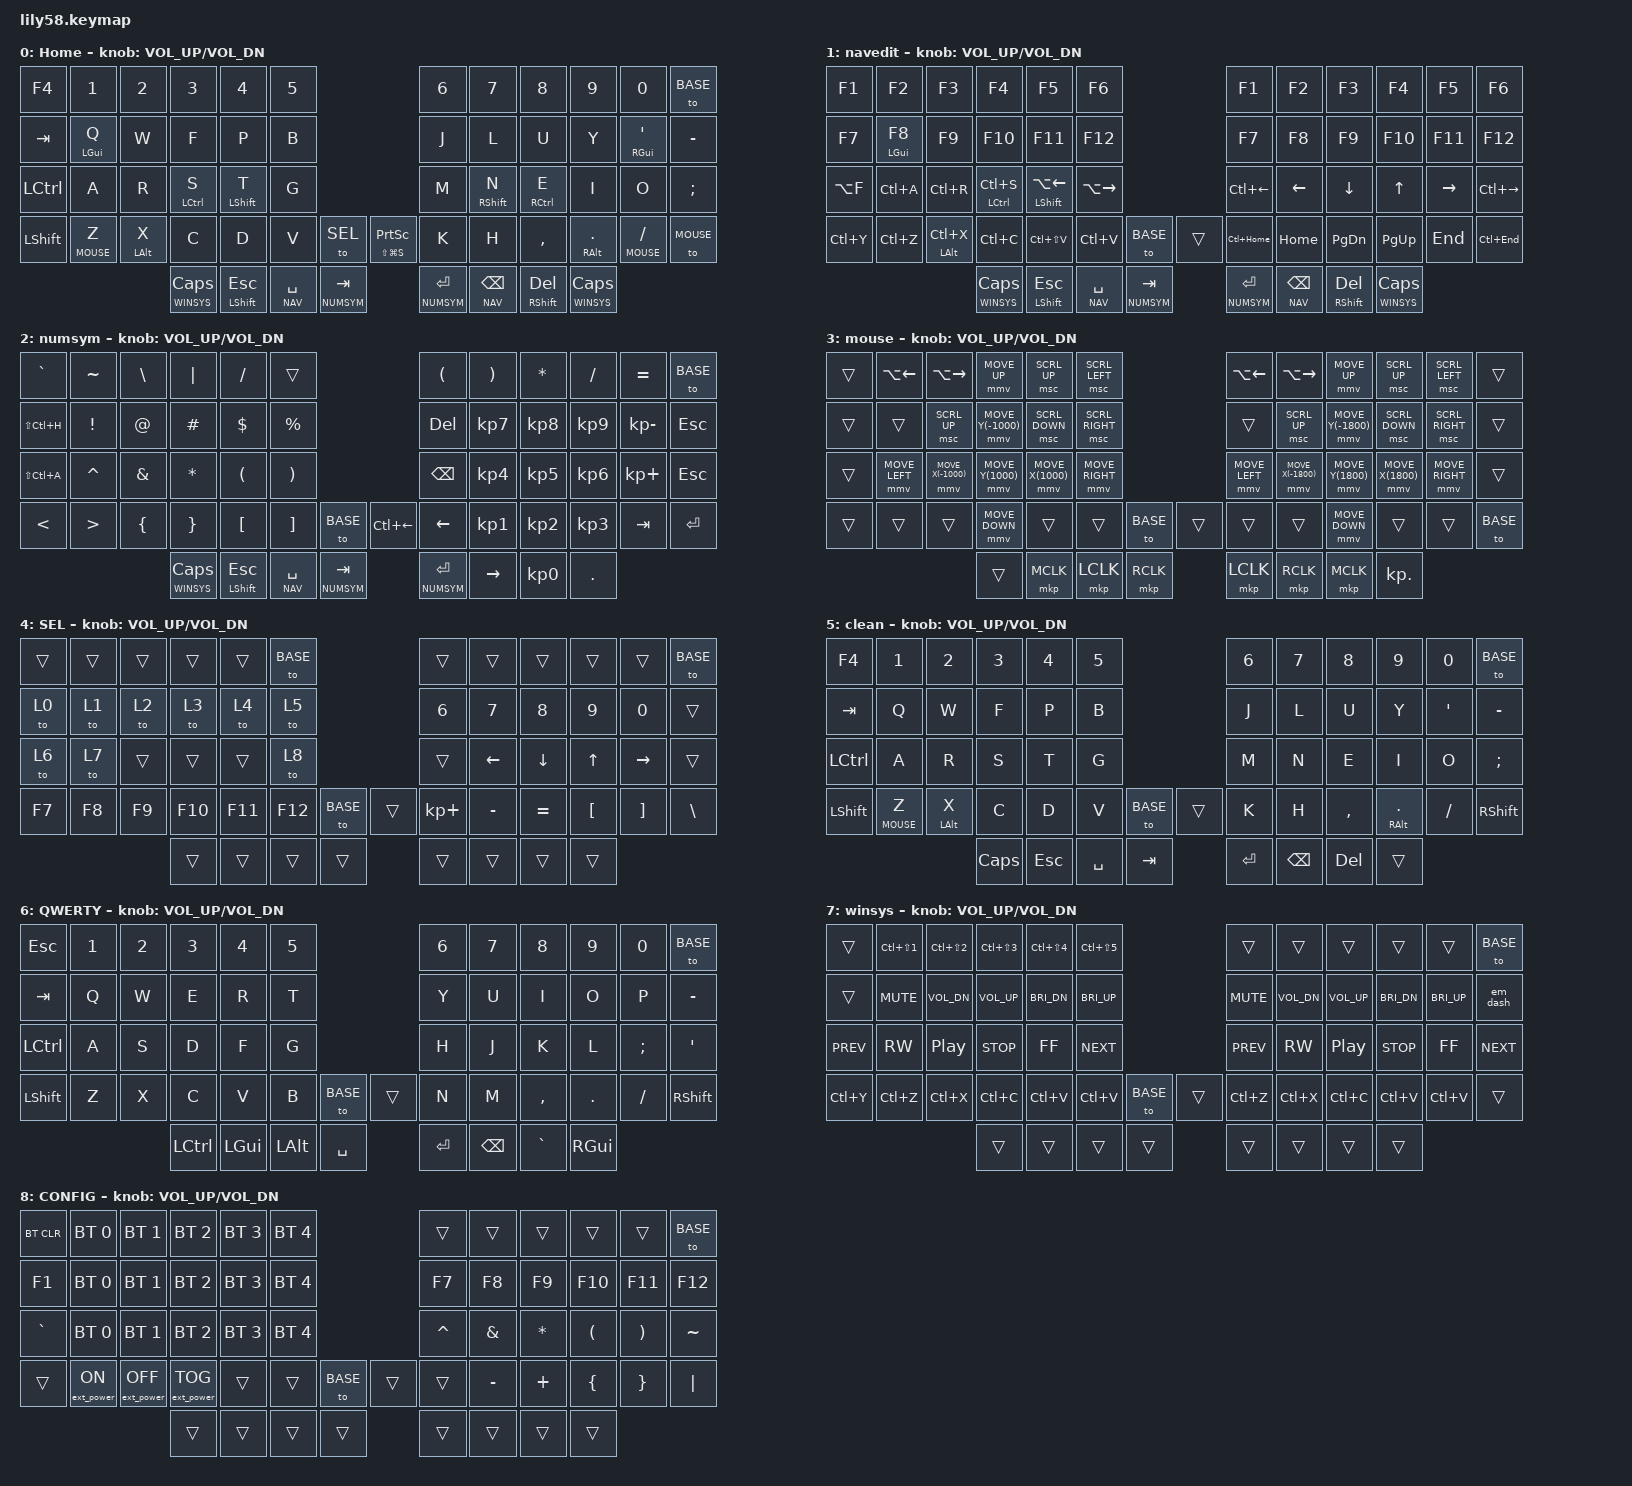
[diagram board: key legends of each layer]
/*
 * Copyright (c) 2020 The ZMK Contributors
 *
 * SPDX-License-Identifier: MIT
 */



#define BASE    0
#define NAV     1
#define NUMSYM  2
#define MOUSE   3
#define SEL     4
#define CLEAN   5
#define QWERTY  6
#define WINSYS  7
#define CONFIG  8

#include <behaviors.dtsi>
#include <dt-bindings/zmk/keys.h>
#include <dt-bindings/zmk/bt.h>
#include <dt-bindings/zmk/ext_power.h>
#include <dt-bindings/zmk/pointing.h>


&mt {
    tapping-term-ms = <150>;
};

/ {
    macros {
        em_dash: em_dash {
            compatible = "zmk,behavior-macro";
            #binding-cells = <0>;
            wait-ms = <40>;
            tap-ms = <40>;
            bindings
                =   <&macro_press &kp LALT>
                    , <&macro_tap  &kp N2 &kp N0 &kp N1 &kp N4>
                    , <&macro_release &kp LALT>
                    ;
        };
        sen_sym: sen_sym {
            compatible = "zmk,behavior-macro";
            #binding-cells = <0>;
            wait-ms = <40>;
            tap-ms = <40>;
            bindings
                =   <&macro_press &kp LALT>
                    , <&macro_tap  &kp N0 &kp N1 &kp N6 &kp N7>
                    , <&macro_release &kp LALT>
                    ;
        };
        par_sym: par_sym {
            compatible = "zmk,behavior-macro";
            #binding-cells = <0>;
            wait-ms = <40>;
            tap-ms = <40>;
            bindings
                =   <&macro_press &kp LALT>
                    , <&macro_tap  &kp N0 &kp N1 &kp N8 &kp N2>
                    , <&macro_release &kp LALT>
                    ;
        };



    };
    behaviors {
        hm: homerow_mods {
            compatible = "zmk,behavior-hold-tap";
            #binding-cells = <2>;
            tapping-term-ms = <150>;
            quick-tap-ms = <0>;
            flavor = "tap-preferred";
            bindings = <&kp>, <&kp>;
        };
    };

keymap {
        compatible = "zmk,keymap";

        home_layer {
            display-name = "Home";
            bindings = <
&kp F4     &kp N1      &kp N2     &kp N3        &kp N4        &kp N5                                     &kp N6     &kp N7       &kp N8       &kp N9        &kp N0         &to BASE
&kp TAB    &hm LGUI Q  &kp W      &kp F         &kp P         &kp B                                      &kp J      &kp L        &kp U        &kp Y         &hm RGUI SQT   &kp MINUS
&kp LCTRL  &kp A       &kp R      &hm LCTRL S   &hm LSHIFT T  &kp G                                      &kp M      &hm RSHIFT N &hm RCTRL E  &kp I         &kp O          &kp SEMI
&kp LSHFT  &lt MOUSE Z &hm LALT X  &kp C         &kp D        &kp V      &to SEL   &mt LS(LG(S)) PSCRN     &kp K      &kp H        &kp COMMA    &hm RALT DOT  &lt MOUSE FSLH &to MOUSE
                    &lt WINSYS CLCK    &mt LSHIFT ESC   &lt NAV SPACE  &lt NUMSYM TAB     &lt NUMSYM RET   &lt NAV BSPC   &mt RSHIFT DEL      &lt WINSYS CLCK 
            >;

            sensor-bindings = <&inc_dec_kp C_VOL_UP C_VOL_DN>;
        };

        nav_layer {
            display-name = "navedit";
            bindings = <
&kp F1    &kp F2 &kp F3 &kp F4  &kp F5  &kp F6                                              &kp F1    &kp F2 &kp F3 &kp F4  &kp F5  &kp F6
&kp F7    &mt LGUI F8 &kp F9 &kp F10 &kp F11 &kp F12                                             &kp F7    &kp F8 &kp F9 &kp F10 &kp F11 &kp F12
&kp LA(F)    &kp LC(A)  &kp LC(R)  &mt LCTRL LC(S)   &mt LSHFT LA(LEFT) &kp LA(RIGHT)                 &kp LC(LEFT)    &kp LEFT  &kp DOWN  &kp UP   &kp RIGHT &kp LC(RIGHT)
&kp LC(Y)    &kp LC(Z) &mt LALT LC(X) &kp LC(C) &kp LC(LS(V)) &kp LC(V)     &to BASE   &trans     &kp LC(HOME) &kp HOME &kp PG_DN &kp PG_UP &kp END  &kp LC(END)
                        &lt WINSYS CLCK    &mt LSHIFT ESC   &lt NAV SPACE  &lt NUMSYM TAB     &lt NUMSYM RET   &lt NAV BSPC   &mt RSHIFT DEL      &lt WINSYS CLCK
            >;

            sensor-bindings = <&inc_dec_kp C_VOL_UP C_VOL_DN>;
        };

        numsym_layer {
            display-name = "numsym";
            bindings = <
&kp GRAVE &kp TILDE &kp BSLH &kp PIPE  &kp FSLH  &trans                       &kp LPAR      &kp RPAR    &kp STAR    &kp FSLH   &kp EQUAL    &to BASE
&kp LS(LC(H)) &kp EXCL &kp AT &kp POUND  &kp DLLR  &kp PRCNT                      &kp DEL      &kp KP_N7    &kp KP_N8    &kp KP_N9   &kp KP_MINUS    &kp ESC
&kp LS(LC(A))  &kp CARET &kp AMPS &kp STAR  &kp LPAR  &kp RPAR                     &kp BSPC      &kp KP_N4  &kp KP_N5  &kp KP_N6   &kp KP_PLUS &kp ESC
&kp LT    &kp GT &kp LBRC &kp RBRC &kp LBKT &kp RBKT           &to BASE   &kp LC(LEFT)     &kp LEFT &kp KP_N1 &kp KP_N2 &kp KP_N3 &kp TAB  &kp RET
                        &lt WINSYS CLCK    &mt LSHIFT ESC   &lt NAV SPACE  &lt NUMSYM TAB     &lt NUMSYM RET &kp RIGHT   &kp KP_N0      &kp DOT
            >;

            sensor-bindings = <&inc_dec_kp C_VOL_UP C_VOL_DN>;
        };

        mouse_layer {
            display-name = "mouse";
// ------------------------------------------------------------------------------------------------------------
// |       |     |     |      |      |      |                   |      |       |       |      |       |       |
// |   `   |  1  |  2  |  3   |  4   |  5   |                   |  6   |   7   |   8   |  9   |   0   |       |
// |   F1  |  F2 |  F3 |  F4  |  F5  |  F6  |                   |      |   <-  |   v   |  ^   |  ->   |       |
// |   F7  |  F8 |  F9 |  F10 |  F11 |  F12 |        |  |       |  +   |   -   |   =   |  [   |   ]   |   \   |
//                     |      |      |      |        |  |       |      |       |       |
            bindings = <
&trans    &kp LA(LEFT)  &kp LA(RIGHT) &mmv MOVE_UP  &msc SCRL_UP  &msc SCRL_LEFT                                         &kp LA(LEFT)  &kp LA(RIGHT) &mmv MOVE_UP  &msc SCRL_UP  &msc SCRL_LEFT  &trans
&trans    &trans &msc SCRL_UP &mmv MOVE_Y(-1000)  &msc SCRL_DOWN  &msc SCRL_RIGHT                                        &trans &msc SCRL_UP &mmv MOVE_Y(-1800)  &msc SCRL_DOWN  &msc SCRL_RIGHT  &trans
&trans    &mmv MOVE_LEFT  &mmv MOVE_X(-1000) &mmv MOVE_Y(1000)  &mmv MOVE_X(1000)  &mmv MOVE_RIGHT                       &mmv MOVE_LEFT  &mmv MOVE_X(-1800) &mmv MOVE_Y(1800)  &mmv MOVE_X(1800)  &mmv MOVE_RIGHT  &trans
&trans    &trans &trans &mmv MOVE_DOWN  &trans  &trans                                           &to BASE   &trans       &trans    &trans &mmv MOVE_DOWN  &trans &trans &to BASE
                        &trans  &mkp MCLK    &mkp LCLK      &mkp RCLK   &mkp LCLK    &mkp RCLK      &mkp MCLK    &kp KP_DOT
            >;

            sensor-bindings = <&inc_dec_kp C_VOL_UP C_VOL_DN>;
        };

        selection_layer {
            display-name = "SEL";
// ------------------------------------------------------------------------------------------------------------
// |       |     |     |      |      |      |                   |      |       |       |      |       |       |
// |   `   |  1  |  2  |  3   |  4   |  5   |                   |  6   |   7   |   8   |  9   |   0   |       |
// |   F1  |  F2 |  F3 |  F4  |  F5  |  F6  |                   |      |   <-  |   v   |  ^   |  ->   |       |
// |   F7  |  F8 |  F9 |  F10 |  F11 |  F12 |        |  |       |  +   |   -   |   =   |  [   |   ]   |   \   |
//                     |      |      |      |        |  |       |      |       |       |
            bindings = <
&trans    &trans   &trans   &trans  &trans  &to BASE            &trans      &trans    &trans    &trans   &trans    &to BASE
&to 0    &to 1 &to 2 &to 3  &to 4  &to 5                       &kp N6      &kp N7    &kp N8    &kp N9   &kp N0    &trans
&to 6    &to 7  &trans  &trans &trans  &to 8                     &trans      &kp LEFT  &kp DOWN  &kp UP   &kp RIGHT &trans
&kp F7    &kp F8 &kp F9 &kp F10 &kp F11 &kp F12   &to BASE   &trans    &kp KP_PLUS &kp MINUS &kp EQUAL &kp LBKT &kp RBKT  &kp BSLH
                        &trans  &trans  &trans    &trans   &trans    &trans      &trans    &trans
            >;

            sensor-bindings = <&inc_dec_kp C_VOL_UP C_VOL_DN>;
        };

        clean_colemak_layer {
            display-name = "clean";
// ------------------------------------------------------------------------------------------------------------
// |       |     |     |      |      |      |                   |      |       |       |      |       |       |
// |   `   |  1  |  2  |  3   |  4   |  5   |                   |  6   |   7   |   8   |  9   |   0   |       |
// |   F1  |  F2 |  F3 |  F4  |  F5  |  F6  |                   |      |   <-  |   v   |  ^   |  ->   |       |
// |   F7  |  F8 |  F9 |  F10 |  F11 |  F12 |        |  |       |  +   |   -   |   =   |  [   |   ]   |   \   |
//                     |      |      |      |        |  |       |      |       |       |
            bindings = <
&kp F4     &kp N1      &kp N2     &kp N3        &kp N4        &kp N5                                     &kp N6     &kp N7       &kp N8       &kp N9        &kp N0         &to BASE
&kp TAB    &kp Q  &kp W      &kp F         &kp P         &kp B                                      &kp J      &kp L        &kp U        &kp Y         &kp SQT   &kp MINUS
&kp LCTRL  &kp A       &kp R      &kp S   &kp T  &kp G                                      &kp M      &kp N &kp E  &kp I         &kp O          &kp SEMI
&kp LSHFT  &lt MOUSE Z &hm LALT X  &kp C         &kp D        &kp V      &to BASE   &trans     &kp K      &kp H        &kp COMMA    &hm RALT DOT  &kp FSLH &kp RSHFT
                    &kp CAPS    &kp ESC   &kp SPACE  &kp TAB     &kp RET   &kp BSPC   &kp DEL      &trans 
            >;

            sensor-bindings = <&inc_dec_kp C_VOL_UP C_VOL_DN>;
        };

        QWERTY_layer {
            display-name = "QWERTY";
// ------------------------------------------------------------------------------------------------------------
// |  ESC  |  1  |  2  |  3   |  4   |  5   |                   |  6   |  7    |  8    |  9   |   0   |   `   |
// |  TAB  |  Q  |  W  |  E   |  R   |  T   |                   |  Y   |  U    |  I    |  O   |   P   |   -   |
// |  CTRL |  A  |  S  |  D   |  F   |  G   |                   |  H   |  J    |  K    |  L   |   ;   |   '   |q
// | SHIFT |  Z  |  X  |  C   |  V   |  B   |   "["  |  |  "]"  |  N   |  M    |  ,    |  .   |   /   | SHIFT |
//                     | ALT  | GUI  | LOWER|  SPACE |  | ENTER | RAISE| BSPC  | GUI   |
            bindings = <
&kp ESC   &kp N1 &kp N2 &kp N3   &kp N4   &kp N5                     &kp N6 &kp N7   &kp N8    &kp N9  &kp N0   &to BASE
&kp TAB   &kp Q  &kp W  &kp E    &kp R    &kp T                      &kp Y  &kp U    &kp I     &kp O   &kp P    &kp MINUS
&kp LCTRL &kp A  &kp S  &kp D    &kp F    &kp G                      &kp H  &kp J    &kp K     &kp L   &kp SEMI &kp SQT
&kp LSHFT &kp Z  &kp X  &kp C    &kp V    &kp B  &to BASE   &trans &kp N  &kp M    &kp COMMA &kp DOT &kp FSLH &kp RSHFT
                        &kp LCTRL &kp LGUI &kp LALT  &kp SPACE  &kp RET  &kp BSPC  &kp GRAVE &kp RGUI
            >;
            sensor-bindings = <&inc_dec_kp C_VOL_UP C_VOL_DN>;
        };

        WINSYS_layer {
            display-name = "winsys";
// ------------------------------------------------------------------------------------------------------------
// |       |     |     |      |      |      |                   |      |       |       |      |       |       |
// |   `   |  1  |  2  |  3   |  4   |  5   |                   |  6   |   7   |   8   |  9   |   0   |       |
// |   F1  |  F2 |  F3 |  F4  |  F5  |  F6  |                   |      |   <-  |   v   |  ^   |  ->   |       |
// |   F7  |  F8 |  F9 |  F10 |  F11 |  F12 |        |  |       |  +   |   -   |   =   |  [   |   ]   |   \   |
//                     |      |      |      |        |  |       |      |       |       |
            bindings = <
&trans    &kp LC(LS(N1)) &kp LC(LS(N2)) &kp LC(LS(N3))  &kp LC(LS(N4))  &kp LC(LS(N5))                       &trans      &trans    &trans    &trans   &trans    &to BASE
&trans &kp C_MUTE &kp C_VOL_DN &kp C_VOL_UP  &kp C_BRI_DN  &kp C_BRI_UP         &kp C_MUTE &kp C_VOL_DN &kp C_VOL_UP  &kp C_BRI_DN  &kp C_BRI_UP    &em_dash
&kp C_PREV    &kp C_RW &kp C_PP &kp C_STOP  &kp C_FF  &kp C_NEXT                       &kp C_PREV    &kp C_RW &kp C_PP &kp C_STOP  &kp C_FF  &kp C_NEXT
&kp LC(Y)    &kp LC(Z) &kp LC(X) &kp LC(C) &kp LC(V) &kp LC(V)   &to BASE   &trans    &kp LC(Z) &kp LC(X) &kp LC(C) &kp LC(V) &kp LC(V)  &trans
                        &trans  &trans  &trans    &trans   &trans    &trans      &trans    &trans
            >;

            sensor-bindings = <&inc_dec_kp C_VOL_UP C_VOL_DN>;
        };

         CONFIG_layer {
         display-name = "CONFIG";
// ------------------------------------------------------------------------------------------------------------
// | BTCLR | BT1 | BT2 |  BT3 |  BT4 |  BT5 |                   |      |       |       |      |       |       |
// |  F1   |  F2 |  F3 |  F4  |  F5  |  F6  |                   |  F7  |  F8   |  F9   |  F10 |  F11  |  F12  |
// |   `   |  !  |  @  |  #   |  $   |  %   |                   |  ^   |  &    |  *    |  (   |   )   |   ~   |
// |       |     |     |      |      |      |        |  |       |      |  _    |  +    |  {   |   }   |  "|"  |
//                     |      |      |      |        |  |       |      |       |       |
            bindings = <
&bt BT_CLR &bt BT_SEL 0     &bt BT_SEL 1      &bt BT_SEL 2      &bt BT_SEL 3 &bt BT_SEL 4                 &trans    &trans    &trans    &trans    &trans    &to BASE
&kp F1     &bt BT_SEL 0     &bt BT_SEL 1      &bt BT_SEL 2      &bt BT_SEL 3 &bt BT_SEL 4                       &kp F7    &kp F8    &kp F9    &kp F10   &kp F11   &kp F12
&kp GRAVE  &bt BT_SEL 0     &bt BT_SEL 1      &bt BT_SEL 2      &bt BT_SEL 3 &bt BT_SEL 4                    &kp CARET &kp AMPS  &kp ASTRK &kp LPAR  &kp RPAR  &kp TILDE
&trans     &ext_power EP_ON &ext_power EP_OFF &ext_power EP_TOG &trans       &trans    &to BASE   &trans    &trans    &kp MINUS &kp PLUS  &kp LBRC  &kp RBRC  &kp PIPE
                                              &trans            &trans       &trans    &trans   &trans    &trans    &trans    &trans
            >;

            sensor-bindings = <&inc_dec_kp C_VOL_UP C_VOL_DN>;
        };
    };
};
